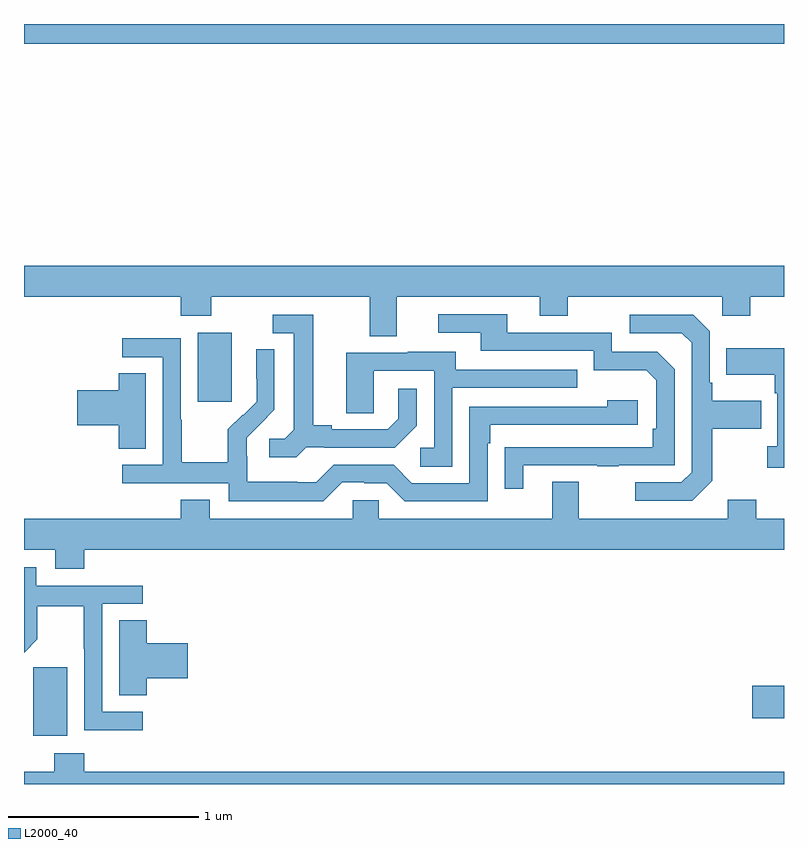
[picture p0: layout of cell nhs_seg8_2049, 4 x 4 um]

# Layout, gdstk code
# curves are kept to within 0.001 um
import gdstk
lib = gdstk.Library(unit=1e-6, precision=1e-09)
def R(c, l, rs):  # rectangles x0, y0, x1, y1
    for r in rs: c.add(gdstk.rectangle(r[:2], r[2:], *l))
def P(c, l, *ps):  # polygons
    for p in ps: c.add(gdstk.Polygon(p, *l))
L2000_40 = (2000, 40)

nhs_seg8_2049 = lib.new_cell('nhs_seg8_2049')
R(nhs_seg8_2049, L2000_40, [(239.048,1150.154,239.227,1150.515), (242.832,1150.247,243,1150.418), (239.915,1151.913,240.094,1152.274), (239,1153.796,243,1153.9)])
P(nhs_seg8_2049, L2000_40, [(240.961,1152.464),(241.715,1152.464),(241.715,1152.365),(241.863,1152.365),(241.863,1152.464),(242.676,1152.464),(242.676,1152.365),(242.823,1152.365),(242.823,1152.464),(243,1152.464),(243,1152.628),(239,1152.628),(239,1152.464),(239.825,1152.464),(239.825,1152.365),(239.985,1152.365),(239.985,1152.464),(240.821,1152.464),(240.821,1152.256),(240.961,1152.256)],
  [(241.627,1151.577),(242.017,1151.577),(242.017,1151.572),(242.129,1151.572),(242.129,1151.577),(242.424,1151.577),(242.424,1152.084),(242.334,1152.174),(242.094,1152.174),(242.094,1152.276),(241.543,1152.276),(241.543,1152.372),(241.179,1152.372),(241.179,1152.276),(241.403,1152.276),(241.403,1152.18),(241.998,1152.18),(241.998,1152.077),(242.275,1152.077),(242.328,1152.024),(242.328,1151.77),(242.308,1151.77),(242.308,1151.673),(241.531,1151.672),(241.531,1151.454),(241.627,1151.454)],
  [(242.623,1151.497),(242.623,1151.77),(242.879,1151.77),(242.879,1151.917),(242.623,1151.917),(242.623,1152.013),(242.61,1152.013),(242.61,1152.282),(242.523,1152.369),(242.187,1152.369),(242.187,1152.273),(242.463,1152.273),(242.514,1152.222),(242.514,1151.541),(242.46,1151.487),(242.217,1151.487),(242.217,1151.391),(242.517,1151.391)],
  [(240.486,1151.673),(240.58,1151.673),(240.58,1151.67),(240.952,1151.67),(241.068,1151.786),(241.068,1151.98),(240.971,1151.98),(240.971,1151.823),(240.914,1151.766),(240.619,1151.766),(240.619,1151.789),(240.523,1151.789),(240.523,1152.369),(240.309,1152.369),(240.309,1152.273),(240.419,1152.273),(240.419,1151.765),(240.372,1151.718),(240.291,1151.718),(240.291,1151.621),(240.434,1151.621)],
  [(240.675,1151.487),(240.791,1151.487),(240.791,1151.484),(240.909,1151.484),(241.005,1151.388),(241.44,1151.388),(241.44,1151.693),(241.453,1151.693),(241.453,1151.79),(242.23,1151.79),(242.23,1151.92),(242.069,1151.92),(242.069,1151.886),(241.344,1151.886),(241.344,1151.484),(241.041,1151.484),(240.945,1151.58),(240.63,1151.58),(240.537,1151.487),(240.437,1151.487),(240.437,1151.491),(240.174,1151.491),(240.174,1151.625),(240.172,1151.625),(240.172,1151.722),(240.318,1151.87),(240.318,1152.188),(240.222,1152.188),(240.222,1152.034),(240.224,1152.034),(240.224,1151.912),(240.153,1151.841),(240.15,1151.844),(240.073,1151.767),(240.073,1151.593),(239.829,1151.593),(239.829,1151.816),(239.826,1151.816),(239.826,1152.246),(239.517,1152.246),(239.517,1152.147),(239.73,1152.147),(239.73,1151.58),(239.517,1151.58),(239.517,1151.484),(240.078,1151.484),(240.078,1151.387),(240.575,1151.387)],
  [(243,1152.193),(242.695,1152.193),(242.695,1152.053),(242.952,1152.053),(242.952,1151.957),(242.964,1151.957),(242.964,1151.678),(242.913,1151.678),(242.913,1151.565),(243,1151.565)],
  [(241.254,1151.985),(241.913,1151.985),(241.913,1152.081),(241.273,1152.081),(241.273,1152.175),(241.019,1152.175),(241.019,1152.171),(240.695,1152.171),(240.695,1151.851),(240.84,1151.851),(240.84,1152.075),(241.158,1152.075),(241.158,1151.67),(241.086,1151.67),(241.086,1151.569),(241.254,1151.569)],
  [(239.641,1152.062),(239.498,1152.062),(239.498,1151.972),(239.28,1151.972),(239.28,1151.789),(239.498,1151.789),(239.498,1151.665),(239.641,1151.665)],
  [(239.318,1151.132),(243,1151.132),(243,1151.296),(242.853,1151.296),(242.853,1151.395),(242.705,1151.395),(242.705,1151.296),(241.921,1151.296),(241.921,1151.491),(241.781,1151.491),(241.781,1151.296),(240.867,1151.296),(240.867,1151.394),(240.729,1151.394),(240.729,1151.296),(239.977,1151.296),(239.977,1151.395),(239.825,1151.395),(239.825,1151.296),(239,1151.296),(239,1151.132),(239.165,1151.132),(239.165,1151.033),(239.318,1151.033)],
  [(239.626,1150.281),(239.412,1150.281),(239.412,1150.848),(239.626,1150.848),(239.626,1150.944),(239.064,1150.944),(239.064,1151.041),(239,1151.041),(239,1150.592),(239.069,1150.661),(239.069,1150.836),(239.314,1150.836),(239.314,1150.612),(239.316,1150.612),(239.316,1150.183),(239.626,1150.183)],
  [(239.645,1150.457),(239.863,1150.457),(239.863,1150.64),(239.645,1150.64),(239.645,1150.763),(239.501,1150.763),(239.501,1150.366),(239.645,1150.366)],
  [(243,1149.964),(239.318,1149.964),(239.318,1150.063),(239.158,1150.063),(239.158,1149.964),(239,1149.964),(239,1149.9),(243,1149.9)])

lib.write_gds('nhs_seg8_2049.gds')
